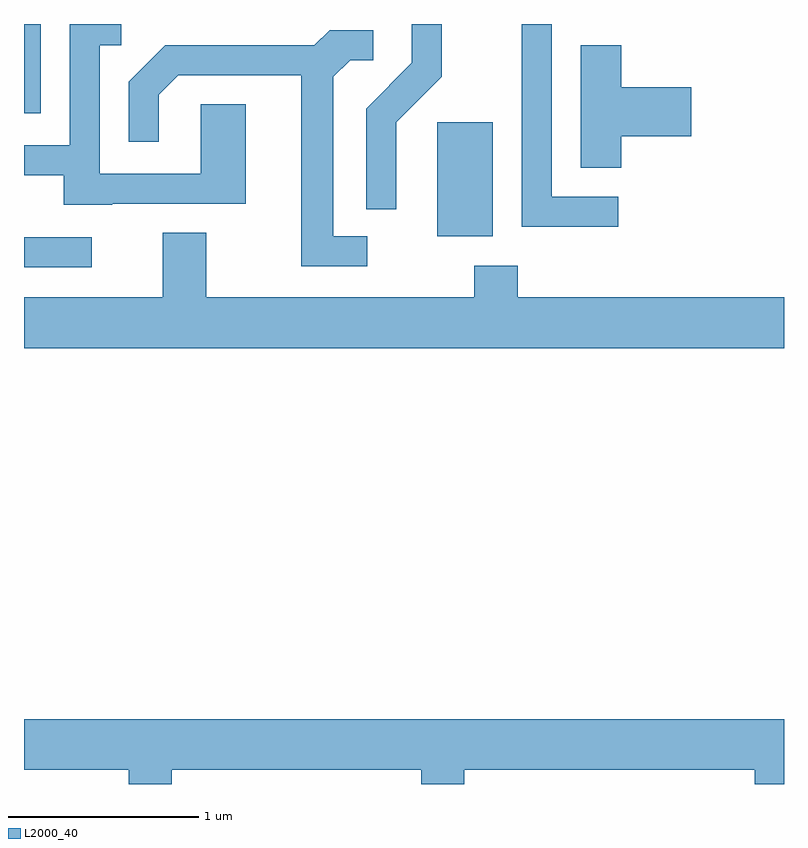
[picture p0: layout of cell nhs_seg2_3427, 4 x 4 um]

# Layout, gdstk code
import gdstk
lib = gdstk.Library(unit=1e-6, precision=1e-09)
def R(c, l, rs):  # rectangles x0, y0, x1, y1
    for r in rs: c.add(gdstk.rectangle(r[:2], r[2:], *l))
def P(c, l, *ps):  # polygons
    for p in ps: c.add(gdstk.Polygon(p, *l))
L2000_40 = (2000, 40)

nhs_seg2_3427 = lib.new_cell('nhs_seg2_3427')
R(nhs_seg2_3427, L2000_40, [(285.611,1046.521,285.968,1046.679), (287.786,1046.686,288.079,1047.284), (285.611,1047.331,285.699,1047.802)])
P(nhs_seg2_3427, L2000_40, [(287.569,1047.284),(287.809,1047.524),(287.809,1047.802),(287.651,1047.802),(287.651,1047.597),(287.411,1047.357),(287.411,1046.828),(287.569,1046.828)],
  [(288.738,1046.894),(288.389,1046.894),(288.389,1047.802),(288.231,1047.802),(288.231,1046.736),(288.738,1046.736)],
  [(286.075,1046.856),(286.779,1046.856),(286.779,1047.379),(286.541,1047.379),(286.541,1047.014),(286.009,1047.014),(286.009,1047.691),(286.123,1047.691),(286.123,1047.802),(285.851,1047.802),(285.851,1047.164),(285.611,1047.164),(285.611,1047.006),(285.821,1047.006),(285.821,1046.851),(286.075,1046.851)],
  [(287.418,1046.684),(287.239,1046.684),(287.239,1047.524),(287.327,1047.611),(287.448,1047.611),(287.448,1047.769),(287.219,1047.769),(287.139,1047.689),(286.354,1047.689),(286.161,1047.497),(286.161,1047.183),(286.319,1047.183),(286.319,1047.429),(286.422,1047.531),(287.071,1047.531),(287.071,1046.526),(287.418,1046.526)],
  [(288.754,1047.211),(289.124,1047.211),(289.124,1047.469),(288.754,1047.469),(288.754,1047.689),(288.541,1047.689),(288.541,1047.046),(288.754,1047.046)],
  [(289.611,1046.364),(288.209,1046.364),(288.209,1046.529),(287.981,1046.529),(287.981,1046.364),(286.569,1046.364),(286.569,1046.704),(286.341,1046.704),(286.341,1046.364),(285.611,1046.364),(285.611,1046.096),(289.611,1046.096)],
  [(286.389,1043.876),(287.701,1043.876),(287.701,1043.802),(287.929,1043.802),(287.929,1043.876),(289.456,1043.876),(289.456,1043.802),(289.611,1043.802),(289.611,1044.144),(285.611,1044.144),(285.611,1043.876),(286.161,1043.876),(286.161,1043.802),(286.389,1043.802)])

lib.write_gds('nhs_seg2_3427.gds')
